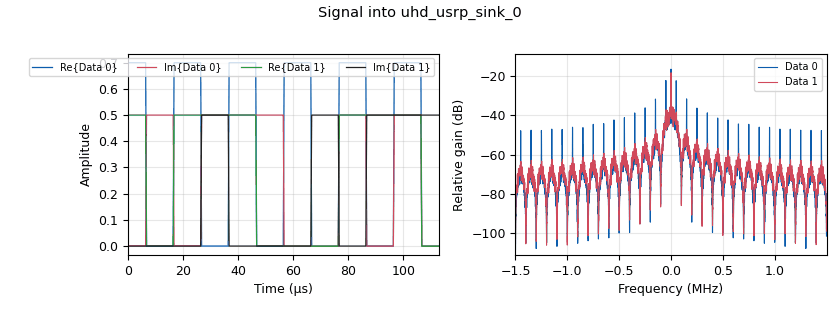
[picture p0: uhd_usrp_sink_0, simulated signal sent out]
<?xml version='1.0' encoding='utf-8'?>
<?grc format='1' created='3.7.10'?>
<flow_graph>
<block>
<key>options</key>
<param><key>id</key><value>PRBS_Four_Channel</value></param>
<param><key>category</key><value>Custom</value></param>
<param><key>generate_options</key><value>qt_gui</value></param>
<param><key>title</key><value>Four Channel PRB Sequence</value></param>
</block>
<block>
<key>variable</key>
<param><key>id</key><value>interp</value></param>
<param><key>value</key><value>samp_rate/my_rate</value></param>
</block>
<block>
<key>variable_qtgui_range</key>
<param><key>id</key><value>my_amp1</value></param>
<param><key>value</key><value>0.7</value></param>
<param><key>label</key><value>Amplitude 1</value></param>
<param><key>orient</key><value>Qt.Horizontal</value></param>
<param><key>start</key><value>0</value></param>
<param><key>step</key><value>0.05</value></param>
<param><key>stop</key><value>1</value></param>
</block>
<block>
<key>variable_qtgui_range</key>
<param><key>id</key><value>my_amp2</value></param>
<param><key>value</key><value>0.5</value></param>
<param><key>label</key><value>Amplitude 2</value></param>
<param><key>orient</key><value>Qt.Horizontal</value></param>
<param><key>start</key><value>0</value></param>
<param><key>step</key><value>0.05</value></param>
<param><key>stop</key><value>1</value></param>
</block>
<block>
<key>variable_qtgui_range</key>
<param><key>id</key><value>my_amp3</value></param>
<param><key>value</key><value>0.5</value></param>
<param><key>label</key><value>Amplitude 3</value></param>
<param><key>orient</key><value>Qt.Horizontal</value></param>
<param><key>start</key><value>0</value></param>
<param><key>step</key><value>0.05</value></param>
<param><key>stop</key><value>1</value></param>
</block>
<block>
<key>variable_qtgui_range</key>
<param><key>id</key><value>my_amp4</value></param>
<param><key>value</key><value>0.5</value></param>
<param><key>label</key><value>Amplitude 4</value></param>
<param><key>orient</key><value>Qt.Horizontal</value></param>
<param><key>start</key><value>0</value></param>
<param><key>step</key><value>0.05</value></param>
<param><key>stop</key><value>1</value></param>
</block>
<block>
<key>variable_qtgui_chooser</key>
<param><key>id</key><value>my_rate</value></param>
<param><key>value</key><value>100000</value></param>
<param><key>label0</key><value>100K</value></param>
<param><key>label1</key><value>500K</value></param>
<param><key>label2</key><value>1M</value></param>
<param><key>label3</key><value>2M</value></param>
<param><key>label4</key><value>3M</value></param>
<param><key>label</key><value>Symbol Rate</value></param>
<param><key>num_opts</key><value>5</value></param>
<param><key>option0</key><value>100000</value></param>
<param><key>option1</key><value>500000</value></param>
<param><key>option2</key><value>1000000</value></param>
<param><key>option3</key><value>2000000</value></param>
<param><key>option4</key><value>3000000</value></param>
<param><key>orient</key><value>Qt.QHBoxLayout</value></param>
<param><key>type</key><value>int</value></param>
<param><key>widget</key><value>radio_buttons</value></param>
</block>
<block>
<key>variable_qtgui_range</key>
<param><key>id</key><value>my_rate</value></param>
<param><key>value</key><value>5000</value></param>
<param><key>_enabled</key><value>0</value></param>
<param><key>label</key><value>Symbol Rate</value></param>
<param><key>orient</key><value>Qt.Horizontal</value></param>
<param><key>start</key><value>0</value></param>
<param><key>step</key><value>5000</value></param>
<param><key>stop</key><value>50000</value></param>
</block>
<block>
<key>variable_qtgui_chooser</key>
<param><key>id</key><value>samp_rate</value></param>
<param><key>value</key><value>3000000</value></param>
<param><key>label0</key><value>750K</value></param>
<param><key>label1</key><value>1.5M</value></param>
<param><key>label2</key><value>3M</value></param>
<param><key>label3</key><value>6M</value></param>
<param><key>label4</key><value>12M</value></param>
<param><key>label</key><value>Sample Rate (NOTE: Keep Sample Rate higher than symbol rate!)</value></param>
<param><key>num_opts</key><value>5</value></param>
<param><key>option0</key><value>750000</value></param>
<param><key>option1</key><value>1500000</value></param>
<param><key>option2</key><value>3000000</value></param>
<param><key>option3</key><value>6000000</value></param>
<param><key>option4</key><value>12000000</value></param>
<param><key>orient</key><value>Qt.QHBoxLayout</value></param>
<param><key>type</key><value>int</value></param>
<param><key>widget</key><value>radio_buttons</value></param>
</block>
<block>
<key>analog_random_source_x</key>
<param><key>id</key><value>analog_random_source_x_0</value></param>
<param><key>max</key><value>2</value></param>
<param><key>min</key><value>0</value></param>
<param><key>num_samps</key><value>1000</value></param>
<param><key>type</key><value>int</value></param>
<param><key>repeat</key><value>True</value></param>
</block>
<block>
<key>analog_random_source_x</key>
<param><key>id</key><value>analog_random_source_x_0_0</value></param>
<param><key>max</key><value>2</value></param>
<param><key>min</key><value>0</value></param>
<param><key>num_samps</key><value>1000</value></param>
<param><key>type</key><value>int</value></param>
<param><key>repeat</key><value>True</value></param>
</block>
<block>
<key>analog_random_source_x</key>
<param><key>id</key><value>analog_random_source_x_0_0_0</value></param>
<param><key>max</key><value>2</value></param>
<param><key>min</key><value>0</value></param>
<param><key>num_samps</key><value>1000</value></param>
<param><key>type</key><value>int</value></param>
<param><key>repeat</key><value>True</value></param>
</block>
<block>
<key>blocks_float_to_complex</key>
<param><key>id</key><value>blocks_float_to_complex_0</value></param>
</block>
<block>
<key>blocks_float_to_complex</key>
<param><key>id</key><value>blocks_float_to_complex_0_0</value></param>
</block>
<block>
<key>blocks_int_to_float</key>
<param><key>id</key><value>blocks_int_to_float_0</value></param>
<param><key>scale</key><value>1/my_amp2</value></param>
</block>
<block>
<key>blocks_int_to_float</key>
<param><key>id</key><value>blocks_int_to_float_0_0</value></param>
<param><key>scale</key><value>1/my_amp3</value></param>
</block>
<block>
<key>blocks_int_to_float</key>
<param><key>id</key><value>blocks_int_to_float_0_0_0</value></param>
<param><key>scale</key><value>1/my_amp4</value></param>
</block>
<block>
<key>blocks_repeat</key>
<param><key>id</key><value>blocks_repeat_0</value></param>
<param><key>interp</key><value>interp</value></param>
<param><key>type</key><value>int</value></param>
</block>
<block>
<key>blocks_repeat</key>
<param><key>id</key><value>blocks_repeat_0_0</value></param>
<param><key>interp</key><value>interp</value></param>
<param><key>type</key><value>float</value></param>
</block>
<block>
<key>blocks_repeat</key>
<param><key>id</key><value>blocks_repeat_0_1</value></param>
<param><key>interp</key><value>interp</value></param>
<param><key>type</key><value>int</value></param>
</block>
<block>
<key>blocks_repeat</key>
<param><key>id</key><value>blocks_repeat_0_1_0</value></param>
<param><key>interp</key><value>interp</value></param>
<param><key>type</key><value>int</value></param>
</block>
<block>
<key>blocks_vector_source_x</key>
<param><key>id</key><value>blocks_vector_source_x_0</value></param>
<param><key>type</key><value>float</value></param>
<param><key>repeat</key><value>True</value></param>
<param><key>vector</key><value>(0, my_amp1)</value></param>
</block>
<block>
<key>uhd_usrp_sink</key>
<param><key>id</key><value>uhd_usrp_sink_0</value></param>
<param><key>ant0</key><value></value></param>
<param><key>center_freq0</key><value>0</value></param>
<param><key>norm_gain0</key><value>False</value></param>
<param><key>gain0</key><value>0</value></param>
<param><key>ant1</key><value></value></param>
<param><key>center_freq1</key><value>0</value></param>
<param><key>norm_gain1</key><value>False</value></param>
<param><key>gain1</key><value>0</value></param>
<param><key>clock_rate</key><value>200e6</value></param>
<param><key>dev_args</key><value>""</value></param>
<param><key>type</key><value>fc32</value></param>
<param><key>nchan</key><value>2</value></param>
<param><key>samp_rate</key><value>samp_rate</value></param>
<param><key>hide_cmd_port</key><value>False</value></param>
<param><key>sync</key><value></value></param>
<param><key>len_tag_name</key><value></value></param>
</block>
<connection><source_block_id>analog_random_source_x_0</source_block_id><sink_block_id>blocks_repeat_0</sink_block_id><source_key>0</source_key><sink_key>0</sink_key></connection>
<connection><source_block_id>analog_random_source_x_0_0</source_block_id><sink_block_id>blocks_repeat_0_1</sink_block_id><source_key>0</source_key><sink_key>0</sink_key></connection>
<connection><source_block_id>analog_random_source_x_0_0_0</source_block_id><sink_block_id>blocks_repeat_0_1_0</sink_block_id><source_key>0</source_key><sink_key>0</sink_key></connection>
<connection><source_block_id>blocks_float_to_complex_0</source_block_id><sink_block_id>uhd_usrp_sink_0</sink_block_id><source_key>0</source_key><sink_key>0</sink_key></connection>
<connection><source_block_id>blocks_float_to_complex_0_0</source_block_id><sink_block_id>uhd_usrp_sink_0</sink_block_id><source_key>0</source_key><sink_key>1</sink_key></connection>
<connection><source_block_id>blocks_int_to_float_0</source_block_id><sink_block_id>blocks_float_to_complex_0</sink_block_id><source_key>0</source_key><sink_key>1</sink_key></connection>
<connection><source_block_id>blocks_int_to_float_0_0</source_block_id><sink_block_id>blocks_float_to_complex_0_0</sink_block_id><source_key>0</source_key><sink_key>0</sink_key></connection>
<connection><source_block_id>blocks_int_to_float_0_0_0</source_block_id><sink_block_id>blocks_float_to_complex_0_0</sink_block_id><source_key>0</source_key><sink_key>1</sink_key></connection>
<connection><source_block_id>blocks_repeat_0</source_block_id><sink_block_id>blocks_int_to_float_0</sink_block_id><source_key>0</source_key><sink_key>0</sink_key></connection>
<connection><source_block_id>blocks_repeat_0_0</source_block_id><sink_block_id>blocks_float_to_complex_0</sink_block_id><source_key>0</source_key><sink_key>0</sink_key></connection>
<connection><source_block_id>blocks_repeat_0_1</source_block_id><sink_block_id>blocks_int_to_float_0_0</sink_block_id><source_key>0</source_key><sink_key>0</sink_key></connection>
<connection><source_block_id>blocks_repeat_0_1_0</source_block_id><sink_block_id>blocks_int_to_float_0_0_0</sink_block_id><source_key>0</source_key><sink_key>0</sink_key></connection>
<connection><source_block_id>blocks_vector_source_x_0</source_block_id><sink_block_id>blocks_repeat_0_0</sink_block_id><source_key>0</source_key><sink_key>0</sink_key></connection>
</flow_graph>
